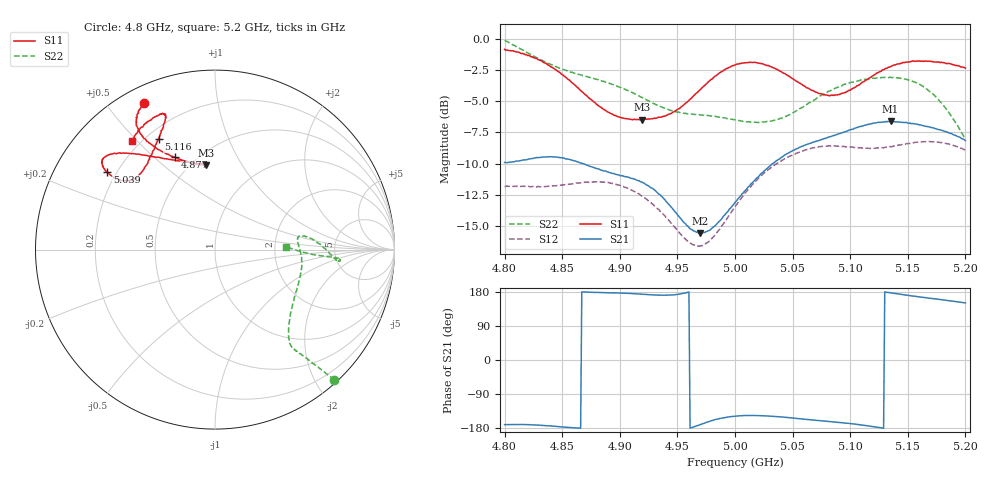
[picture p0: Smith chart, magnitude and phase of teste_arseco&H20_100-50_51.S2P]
! Network Analyzer HP8722D
! Hewlett-Packard
! Data name: Linha & Wilkinson
! Saver's name: Rodrigo Anjos
! Comments: Teste da utilização de aquisição
! continua pelo VNA HP8722D
! Time and date: 6/5/2025 12:59
!  Frequency  S11  S21  S12  S22
# HZ  S  MA R 50
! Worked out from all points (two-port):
!   401 points, 4.8 GHz to 5.2 GHz, reference 50 ohm
!   highest |S21| = -6.62 dB at 5.135 GHz (marker M1); lowest = -15.6 dB at 4.97 GHz (marker M2)
!   |S21| within 3 dB of the highest: 4.822 GHz to 4.853 GHz (30.84 MHz wide, 0.637 % of centre); 5.039 GHz to end of sweep
!   lowest |S11| = -6.5 dB at 4.919 GHz (marker M3), VSWR 2.80, Z = 29.2 + j35.4 ohm
!   |S11| at or under -10 dB: nowhere
!   |S22| runs from -8.0 to -0.1 dB; largest |S21 - S12| = 0.83
!   S11 on the Smith chart (normalised r, x): 4.8 GHz: 0.07, +0.62; 4.877 GHz: 0.39, +0.58; 5.039 GHz: 0.16, +0.32; 5.116 GHz: 0.25, +0.58; 5.2 GHz: 0.17, +0.48
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4.8e9  0.9062 115.9  0.3196 -170.6  0.2565 -86.0  0.983 -47.5
4.832e9  0.8146 122.4  0.3356 -172.4  0.2556 -77.5  0.8203 -49.4
4.849e9  0.7232 122.2  0.334 -176.4  0.2595 -71.7  0.7582 -50.5
4.867e9  0.6141 117.9  0.3174 179.6  0.2653 -67.3  0.7145 -51.4
4.877e9  0.5609 113.6  0.3053 178.5  0.2672 -66.2  0.6932 -51.8
4.901e9  0.4835 100.8  0.2832 176.7  0.2576 -66.7  0.637 -49.9
4.919e9  0.4735 96.3  0.267 173.9  0.2348 -68.5  0.5823 -44.8
4.934e9  0.4844 99.5  0.2387 171.0  0.2068 -69.3  0.5383 -37.4
4.95e9  0.5203 109.4  0.1975 173.0  0.1711 -65.4  0.5084 -26.9
4.97e9  0.6248 124.1  0.1665 -170.4  0.1481 -46.4  0.4944 -14.3
4.981e9  0.695 129.9  0.1759 -159.1  0.1608 -33.8  0.4886 -8.7
5e9  0.7843 137.2  0.221 -148.4  0.2126 -21.3  0.4731 -0.4
5.018e9  0.8024 141.7  0.2741 -146.4  0.2693 -18.2  0.463 5.8
5.039e9  0.7405 144.2  0.331 -150.0  0.3216 -18.2  0.4792 9.0
5.067e9  0.6205 142.0  0.3842 -158.1  0.3654 -20.4  0.5617 4.7
5.088e9  0.5952 133.1  0.413 -164.0  0.3711 -23.6  0.6363 -1.6
5.116e9  0.6923 117.0  0.4541 -174.2  0.3642 -26.7  0.6893 -5.3
5.134e9  0.7685 111.3  0.4649 177.9  0.3686 -28.6  0.6997 -4.7
5.135e9  0.7727 111.0  0.4668 177.3  0.37 -28.7  0.7 -4.6
5.164e9  0.8105 113.4  0.4481 164.9  0.3871 -35.9  0.6406 -3.6
5.181e9  0.8017 119.4  0.4271 158.3  0.3823 -41.2  0.5399 -2.8
5.2e9  0.7616 127.3  0.3909 150.7  0.3577 -46.2  0.396 2.5
